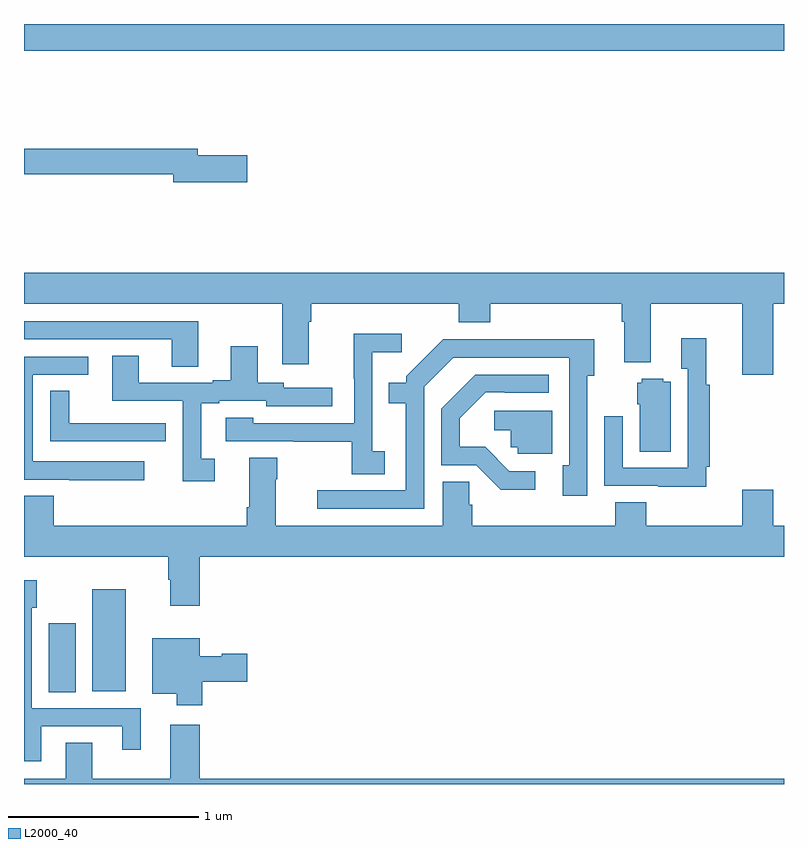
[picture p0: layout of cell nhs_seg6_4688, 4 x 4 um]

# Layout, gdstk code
import gdstk
lib = gdstk.Library(unit=1e-6, precision=1e-09)
def R(c, l, rs):  # rectangles x0, y0, x1, y1
    for r in rs: c.add(gdstk.rectangle(r[:2], r[2:], *l))
def P(c, l, *ps):  # polygons
    for p in ps: c.add(gdstk.Polygon(p, *l))
L2000_40 = (2000, 40)

nhs_seg6_4688 = lib.new_cell('nhs_seg6_4688')
R(nhs_seg6_4688, L2000_40, [(389.129,919.984,389.272,920.347), (389.36,919.988,389.536,920.524), (389,923.36,393,923.5)])
P(nhs_seg6_4688, L2000_40, [(390.175,922.808),(389.914,922.808),(389.914,922.844),(389,922.844),(389,922.708),(389.786,922.708),(389.786,922.666),(390.175,922.666)],
  [(392.944,922.028),(393,922.028),(393,922.192),(389,922.192),(389,922.028),(390.359,922.028),(390.359,921.708),(390.499,921.708),(390.499,921.932),(390.512,921.932),(390.512,922.028),(391.289,922.028),(391.289,921.929),(391.454,921.929),(391.454,922.028),(392.147,922.028),(392.147,921.932),(392.159,921.932),(392.159,921.719),(392.299,921.719),(392.299,922.028),(392.78,922.028),(392.78,921.654),(392.944,921.654)],
  [(389.917,921.936),(389,921.936),(389,921.84),(389.777,921.84),(389.777,921.697),(389.917,921.697)],
  [(390.898,921.252),(390.834,921.252),(390.834,921.773),(390.988,921.773),(390.988,921.871),(390.736,921.871),(390.736,921.632),(390.738,921.632),(390.738,921.399),(390.207,921.399),(390.207,921.427),(390.063,921.427),(390.063,921.303),(390.421,921.303),(390.421,921.301),(390.726,921.301),(390.726,921.13),(390.898,921.13)],
  [(392.591,921.169),(392.609,921.169),(392.609,921.602),(392.591,921.602),(392.591,921.847),(392.459,921.847),(392.459,921.686),(392.493,921.686),(392.493,921.165),(392.151,921.165),(392.151,921.436),(392.055,921.436),(392.055,921.069),(392.339,921.069),(392.339,921.065),(392.591,921.065)],
  [(391.107,921.591),(391.26,921.744),(391.869,921.744),(391.869,921.178),(391.835,921.178),(391.835,921.018),(391.965,921.018),(391.965,921.65),(392.002,921.65),(392.002,921.842),(391.537,921.842),(391.537,921.84),(391.206,921.84),(391.011,921.645),(391.011,921.613),(390.919,921.613),(390.919,921.504),(391.01,921.504),(391.01,921.045),(390.543,921.045),(390.543,920.949),(391.107,920.949)],
  [(390.004,921.213),(389.932,921.213),(389.932,921.504),(390.028,921.504),(390.028,921.516),(390.276,921.516),(390.276,921.489),(390.622,921.489),(390.622,921.585),(390.366,921.585),(390.366,921.612),(390.229,921.612),(390.229,921.805),(390.089,921.805),(390.089,921.625),(389.993,921.625),(389.993,921.612),(389.605,921.612),(389.605,921.755),(389.465,921.755),(389.465,921.516),(389.835,921.516),(389.835,921.093),(390.004,921.093)],
  [(389.632,921.198),(389.046,921.198),(389.046,921.654),(389.338,921.654),(389.338,921.75),(389,921.75),(389,921.102),(389.239,921.102),(389.239,921.1),(389.632,921.1)],
  [(391.69,921.147),(391.554,921.147),(391.427,921.274),(391.294,921.274),(391.294,921.424),(391.431,921.561),(391.531,921.561),(391.531,921.558),(391.762,921.558),(391.762,921.654),(391.376,921.654),(391.197,921.475),(391.197,921.177),(391.38,921.177),(391.508,921.05),(391.69,921.05)],
  [(392.404,921.616),(392.364,921.616),(392.364,921.634),(392.25,921.634),(392.25,921.612),(392.228,921.612),(392.228,921.498),(392.24,921.498),(392.24,921.25),(392.404,921.25)],
  [(389.746,921.398),(389.633,921.398),(389.633,921.399),(389.238,921.399),(389.238,921.569),(389.139,921.569),(389.139,921.303),(389.746,921.303)],
  [(391.78,921.465),(391.476,921.465),(391.476,921.362),(391.563,921.362),(391.563,921.273),(391.599,921.273),(391.599,921.237),(391.78,921.237)],
  [(389.924,920.696),(393,920.696),(393,920.86),(392.944,920.86),(392.944,921.049),(392.78,921.049),(392.78,920.86),(392.276,920.86),(392.276,920.984),(392.111,920.984),(392.111,920.86),(391.358,920.86),(391.358,920.97),(391.343,920.97),(391.343,921.092),(391.205,921.092),(391.205,920.86),(390.325,920.86),(390.325,921.104),(390.333,921.104),(390.333,921.217),(390.185,921.217),(390.185,920.956),(390.173,920.956),(390.173,920.86),(389.156,920.86),(389.156,921.017),(389,921.017),(389,920.696),(389.759,920.696),(389.759,920.576),(389.771,920.576),(389.771,920.439),(389.924,920.439)],
  [(389.092,919.803),(389.516,919.803),(389.516,919.68),(389.614,919.68),(389.614,919.899),(389.04,919.899),(389.04,920.427),(389.067,920.427),(389.067,920.572),(389,920.572),(389,919.619),(389.092,919.619)],
  [(389.939,920.039),(390.175,920.039),(390.175,920.186),(390.042,920.186),(390.042,920.173),(389.926,920.173),(389.926,920.266),(389.675,920.266),(389.675,919.976),(389.804,919.976),(389.804,919.914),(389.939,919.914)],
  [(393,919.528),(389.924,919.528),(389.924,919.813),(389.771,919.813),(389.771,919.528),(389.359,919.528),(389.359,919.718),(389.219,919.718),(389.219,919.528),(389,919.528),(389,919.5),(393,919.5)])

lib.write_gds('nhs_seg6_4688.gds')
